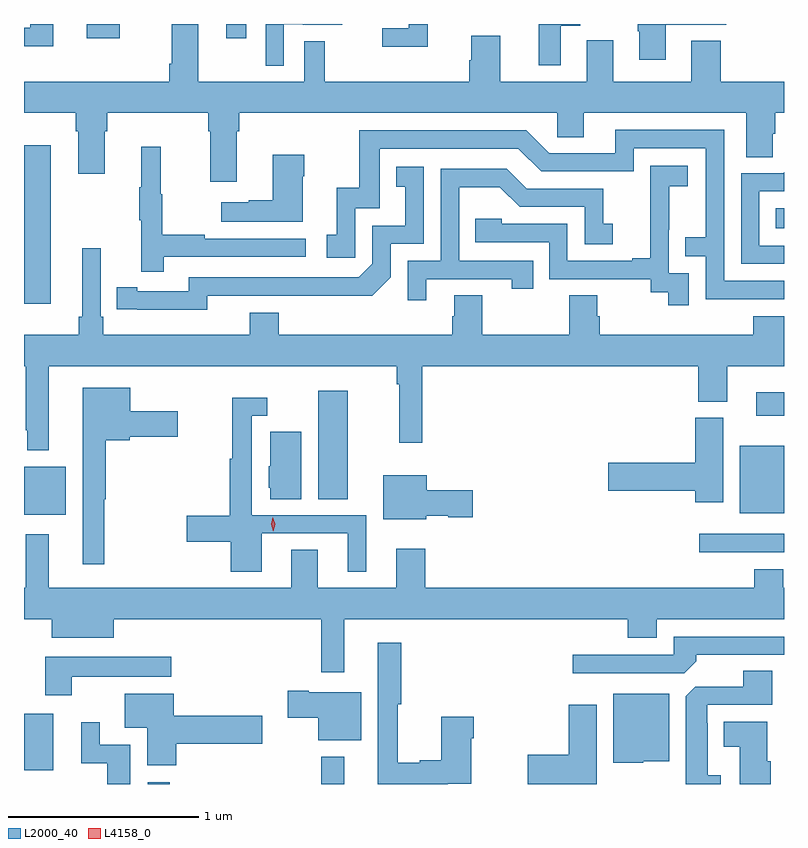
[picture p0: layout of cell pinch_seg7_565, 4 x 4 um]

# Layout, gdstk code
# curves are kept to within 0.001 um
import gdstk
lib = gdstk.Library(unit=1e-6, precision=1e-09)
def R(c, l, rs):  # rectangles x0, y0, x1, y1
    for r in rs: c.add(gdstk.rectangle(r[:2], r[2:], *l))
def P(c, l, *ps):  # polygons
    for p in ps: c.add(gdstk.Polygon(p, *l))
L2000_40 = (2000, 40)
L4158_0 = (4158, 0)

pinch_seg7_565 = lib.new_cell('pinch_seg7_565')
R(pinch_seg7_565, L2000_40, [(148.26,1045.036,148.376,1045.045), (149.172,1045.036,149.293,1045.18), (147.608,1045.109,147.763,1045.405), (151.161,1046.256,151.608,1046.352), (147.608,1046.453,147.829,1046.707), (151.376,1046.462,151.608,1046.815), (149.156,1046.536,149.311,1047.106), (151.461,1046.975,151.608,1047.097), (147.608,1047.564,147.748,1048.399), (151.564,1047.962,151.608,1048.066), (147.939,1048.962,148.111,1049.036), (148.673,1048.962,148.777,1049.036)])
P(pinch_seg7_565, L2000_40, [(150.985,1049.033),(151.303,1049.033),(151.303,1049.036),(150.838,1049.036),(150.838,1048.998),(150.845,1048.998),(150.845,1048.848),(150.985,1048.848)],
  [(150.433,1049.026),(150.535,1049.026),(150.535,1049.036),(150.317,1049.036),(150.317,1048.818),(150.433,1048.818)],
  [(149.733,1049.036),(149.634,1049.036),(149.634,1049.014),(149.493,1049.014),(149.493,1048.916),(149.733,1048.916)],
  [(148.729,1048.472),(148.742,1048.472),(148.742,1048.568),(150.414,1048.568),(150.414,1048.441),(150.553,1048.441),(150.553,1048.568),(151.409,1048.568),(151.409,1048.336),(151.548,1048.336),(151.548,1048.459),(151.562,1048.459),(151.562,1048.568),(151.608,1048.568),(151.608,1048.732),(151.274,1048.732),(151.274,1048.948),(151.121,1048.948),(151.121,1048.732),(150.709,1048.732),(150.709,1048.951),(150.569,1048.951),(150.569,1048.732),(150.115,1048.732),(150.115,1048.975),(149.963,1048.975),(149.963,1048.845),(149.951,1048.845),(149.951,1048.732),(149.191,1048.732),(149.191,1048.946),(149.082,1048.946),(149.082,1048.732),(148.525,1048.732),(148.525,1049.036),(148.385,1049.036),(148.385,1048.828),(148.373,1048.828),(148.373,1048.732),(147.608,1048.732),(147.608,1048.568),(147.881,1048.568),(147.881,1048.472),(147.893,1048.472),(147.893,1048.248),(148.033,1048.248),(148.033,1048.472),(148.046,1048.472),(148.046,1048.568),(148.577,1048.568),(148.577,1048.472),(148.589,1048.472),(148.589,1048.206),(148.729,1048.206)],
  [(147.763,1049.036),(147.642,1049.036),(147.642,1049.016),(147.608,1049.016),(147.608,1048.919),(147.763,1048.919)],
  [(148.974,1049.034),(149.074,1049.034),(149.074,1049.031),(149.282,1049.031),(149.282,1049.036),(148.881,1049.036),(148.881,1048.817),(148.974,1048.817)],
  [(151.608,1047.684),(151.293,1047.684),(151.293,1048.479),(150.719,1048.479),(150.719,1048.356),(150.372,1048.356),(150.252,1048.476),(149.373,1048.476),(149.373,1048.174),(149.255,1048.174),(149.255,1047.927),(149.202,1047.927),(149.202,1047.807),(149.352,1047.807),(149.352,1048.065),(149.481,1048.065),(149.481,1048.38),(150.21,1048.38),(150.33,1048.26),(150.816,1048.26),(150.816,1048.383),(151.197,1048.383),(151.197,1047.914),(151.087,1047.914),(151.087,1047.813),(151.197,1047.813),(151.197,1047.588),(151.608,1047.588)],
  [(148.343,1047.81),(149.092,1047.81),(149.092,1047.906),(148.559,1047.906),(148.559,1047.926),(148.336,1047.926),(148.336,1048.14),(148.328,1048.14),(148.328,1048.39),(148.226,1048.39),(148.226,1048.177),(148.215,1048.177),(148.215,1048.003),(148.226,1048.003),(148.226,1047.732),(148.343,1047.732)],
  [(149.074,1048.235),(149.082,1048.235),(149.082,1048.348),(148.916,1048.348),(148.916,1048.109),(148.79,1048.109),(148.79,1048.099),(148.647,1048.099),(148.647,1047.995),(149.074,1047.995)],
  [(151.107,1047.723),(151.002,1047.723),(151.002,1047.953),(151.004,1047.953),(151.004,1048.181),(151.102,1048.181),(151.102,1048.291),(150.904,1048.291),(150.904,1048.085),(150.905,1048.085),(150.905,1047.802),(150.809,1047.802),(150.809,1047.789),(150.468,1047.789),(150.468,1047.984),(150.123,1047.984),(150.123,1048.011),(149.983,1048.011),(149.983,1047.888),(150.372,1047.888),(150.372,1047.693),(150.906,1047.693),(150.906,1047.625),(150.999,1047.625),(150.999,1047.555),(151.107,1047.555)],
  [(148.572,1047.606),(149.44,1047.605),(149.538,1047.702),(149.538,1047.879),(149.712,1047.879),(149.712,1048.285),(149.566,1048.285),(149.566,1048.179),(149.615,1048.179),(149.615,1047.975),(149.442,1047.975),(149.442,1047.774),(149.37,1047.702),(148.476,1047.702),(148.476,1047.63),(148.204,1047.63),(148.204,1047.65),(148.096,1047.65),(148.096,1047.534),(148.572,1047.533)],
  [(149.725,1047.693),(150.176,1047.693),(150.176,1047.642),(150.287,1047.642),(150.287,1047.789),(149.898,1047.789),(149.898,1048.178),(150.112,1048.178),(150.216,1048.074),(150.558,1048.074),(150.558,1047.876),(150.706,1047.876),(150.706,1047.985),(150.657,1047.985),(150.657,1048.17),(150.253,1048.17),(150.148,1048.275),(149.802,1048.275),(149.802,1047.789),(149.628,1047.789),(149.628,1047.582),(149.725,1047.582)],
  [(151.608,1047.87),(151.479,1047.87),(151.479,1048.155),(151.608,1048.155),(151.608,1048.257),(151.602,1048.251),(151.383,1048.251),(151.383,1047.774),(151.608,1047.774)],
  [(147.739,1047.236),(149.569,1047.236),(149.569,1047.14),(149.584,1047.14),(149.584,1046.832),(149.705,1046.832),(149.705,1047.236),(151.157,1047.236),(151.157,1047.049),(151.309,1047.049),(151.309,1047.236),(151.608,1047.236),(151.608,1047.499),(151.445,1047.499),(151.445,1047.4),(150.638,1047.4),(150.638,1047.498),(150.625,1047.498),(150.625,1047.608),(150.478,1047.608),(150.478,1047.4),(150.021,1047.4),(150.021,1047.608),(149.873,1047.608),(149.873,1047.498),(149.861,1047.498),(149.861,1047.4),(148.949,1047.4),(148.949,1047.517),(148.796,1047.517),(148.796,1047.4),(148.025,1047.4),(148.025,1047.496),(148.011,1047.496),(148.011,1047.856),(147.914,1047.856),(147.914,1047.496),(147.895,1047.496),(147.895,1047.4),(147.608,1047.4),(147.608,1047.236),(147.618,1047.236),(147.618,1046.899),(147.625,1046.899),(147.625,1046.792),(147.739,1046.792)],
  [(148.031,1046.534),(148.039,1046.534),(148.039,1046.846),(148.164,1046.846),(148.164,1046.864),(148.417,1046.864),(148.417,1046.998),(148.168,1046.998),(148.168,1047.121),(147.917,1047.121),(147.917,1046.193),(148.031,1046.193)],
  [(148.858,1046.355),(149.312,1046.355),(149.312,1046.154),(149.41,1046.154),(149.41,1046.451),(148.806,1046.451),(148.806,1046.973),(148.888,1046.973),(148.888,1047.07),(148.705,1047.07),(148.705,1046.748),(148.69,1046.748),(148.69,1046.447),(148.464,1046.447),(148.464,1046.312),(148.697,1046.312),(148.697,1046.154),(148.858,1046.154)],
  [(151.288,1046.964),(151.142,1046.964),(151.142,1046.726),(150.684,1046.726),(150.684,1046.579),(151.142,1046.579),(151.142,1046.52),(151.288,1046.52)],
  [(149.068,1046.89),(148.904,1046.89),(148.904,1046.709),(148.895,1046.709),(148.895,1046.595),(148.904,1046.595),(148.904,1046.536),(149.068,1046.536)],
  [(149.724,1046.447),(149.841,1046.447),(149.841,1046.44),(149.971,1046.44),(149.971,1046.582),(149.728,1046.582),(149.728,1046.662),(149.498,1046.662),(149.498,1046.429),(149.724,1046.429)],
  [(149.72,1046.275),(149.567,1046.275),(149.567,1046.068),(149.155,1046.068),(149.155,1046.27),(149.015,1046.27),(149.015,1046.068),(147.739,1046.068),(147.739,1046.35),(147.618,1046.35),(147.618,1046.068),(147.608,1046.068),(147.608,1045.904),(147.755,1045.904),(147.755,1045.805),(148.081,1045.805),(148.081,1045.904),(149.172,1045.904),(149.172,1045.623),(149.293,1045.623),(149.293,1045.904),(150.785,1045.904),(150.785,1045.805),(150.937,1045.805),(150.937,1045.904),(151.608,1045.904),(151.608,1046.068),(151.603,1046.068),(151.603,1046.167),(151.451,1046.167),(151.451,1046.068),(149.72,1046.068)],
  [(151.145,1045.682),(151.145,1045.716),(151.608,1045.716),(151.608,1045.812),(151.029,1045.812),(151.029,1045.716),(150.495,1045.716),(150.495,1045.62),(151.083,1045.62)],
  [(149.838,1045.037),(149.962,1045.037),(149.962,1045.277),(149.975,1045.277),(149.975,1045.39),(149.804,1045.39),(149.804,1045.16),(149.69,1045.16),(149.69,1045.147),(149.575,1045.147),(149.575,1045.455),(149.593,1045.455),(149.593,1045.78),(149.471,1045.78),(149.471,1045.036),(149.838,1045.036)],
  [(147.859,1045.601),(148.384,1045.601),(148.384,1045.705),(147.719,1045.705),(147.719,1045.503),(147.859,1045.503)],
  [(151.276,1045.081),(151.207,1045.081),(151.207,1045.355),(151.203,1045.355),(151.203,1045.452),(151.547,1045.452),(151.547,1045.631),(151.394,1045.631),(151.394,1045.548),(151.14,1045.548),(151.091,1045.499),(151.091,1045.036),(151.276,1045.036)],
  [(149.383,1045.519),(149.107,1045.519),(149.107,1045.527),(148.995,1045.527),(148.995,1045.385),(149.156,1045.385),(149.156,1045.265),(149.383,1045.265)],
  [(150.867,1045.157),(151.003,1045.157),(151.003,1045.51),(150.71,1045.51),(150.71,1045.148),(150.867,1045.148)],
  [(148.409,1045.247),(148.861,1045.247),(148.861,1045.394),(148.396,1045.394),(148.396,1045.51),(148.139,1045.51),(148.139,1045.331),(148.256,1045.331),(148.256,1045.134),(148.409,1045.134)],
  [(150.622,1045.453),(150.476,1045.453),(150.476,1045.19),(150.258,1045.19),(150.258,1045.036),(150.622,1045.036)],
  [(151.537,1045.155),(151.519,1045.155),(151.519,1045.363),(151.292,1045.363),(151.292,1045.232),(151.376,1045.232),(151.376,1045.036),(151.537,1045.036)],
  [(148.168,1045.242),(148.006,1045.242),(148.006,1045.36),(147.908,1045.36),(147.908,1045.146),(148.046,1045.146),(148.046,1045.036),(148.168,1045.036)])
P(pinch_seg7_565, L4158_0, [(148.921,1046.367),(148.921,1046.367),(148.91,1046.402),(148.918,1046.439),(148.918,1046.439),(148.918,1046.439),(148.93,1046.403),(148.921,1046.367)])

lib.write_gds('pinch_seg7_565.gds')
